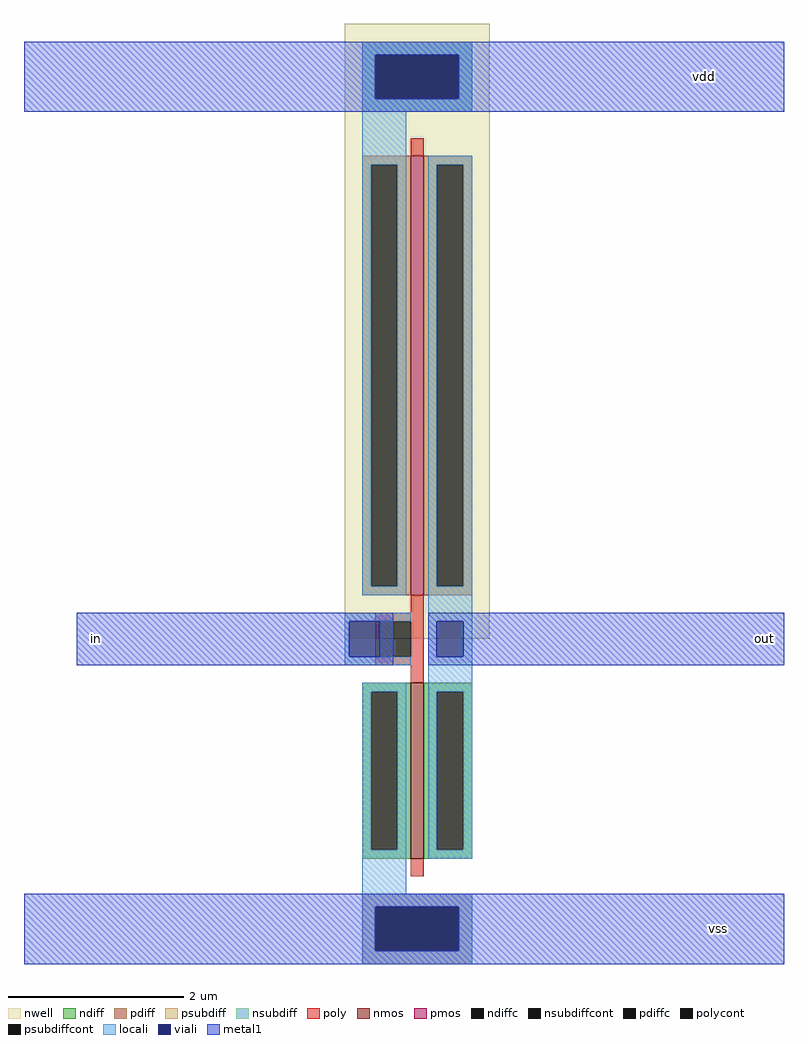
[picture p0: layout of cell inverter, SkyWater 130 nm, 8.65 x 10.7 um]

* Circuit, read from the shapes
.subckt inverter in out vdd vss
XM1 out in vss vss sky130_fd_pr__nfet_01v8 w=2 l=0.15
XM2 out in vdd vdd sky130_fd_pr__pfet_01v8 w=5 l=0.15
.ends

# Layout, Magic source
magic
tech sky130A
<< nwell >>
rect -90 -150 75 550
<< nmos >>
rect -15 -400 0 -200
<< pmos >>
rect -15 -100 0 400
<< ndiff >>
rect -70 -210 -15 -200
rect -70 -390 -60 -210
rect -30 -390 -15 -210
rect -70 -400 -15 -390
rect 0 -210 55 -200
rect 0 -390 15 -210
rect 45 -390 55 -210
rect 0 -400 55 -390
<< pdiff >>
rect -70 390 -15 400
rect -70 -90 -60 390
rect -30 -90 -15 390
rect -70 -100 -15 -90
rect 0 390 55 400
rect 0 -90 15 390
rect 45 -90 55 390
rect 0 -100 55 -90
<< ndiffc >>
rect -60 -390 -30 -210
rect 15 -390 45 -210
<< pdiffc >>
rect -60 -90 -30 390
rect 15 -90 45 390
<< psubdiff >>
rect -70 -455 55 -440
rect -70 -505 -55 -455
rect 40 -505 55 -455
rect -70 -520 55 -505
<< nsubdiff >>
rect -70 515 55 530
rect -70 465 -55 515
rect 40 465 55 515
rect -70 450 55 465
<< psubdiffcont >>
rect -55 -505 40 -455
<< nsubdiffcont >>
rect -55 465 40 515
<< poly >>
rect -15 400 0 420
rect -15 -120 0 -100
rect -55 -130 0 -120
rect -55 -170 -50 -130
rect -15 -170 0 -130
rect -55 -180 0 -170
rect -15 -200 0 -180
rect -15 -420 0 -400
<< polycont >>
rect -50 -170 -15 -130
<< locali >>
rect -70 515 55 530
rect -70 465 -55 515
rect 40 465 55 515
rect -70 450 55 465
rect -70 390 -20 450
rect -70 -90 -60 390
rect -30 -90 -20 390
rect -70 -100 -20 -90
rect 5 390 55 400
rect 5 -90 15 390
rect 45 -90 55 390
rect -90 -130 -15 -120
rect -90 -170 -85 -130
rect -90 -180 -15 -170
rect 5 -130 55 -90
rect 5 -170 15 -130
rect 45 -170 55 -130
rect -70 -210 -20 -200
rect -70 -390 -60 -210
rect -30 -390 -20 -210
rect -70 -440 -20 -390
rect 5 -210 55 -170
rect 5 -390 15 -210
rect 45 -390 55 -210
rect 5 -400 55 -390
rect -70 -455 55 -440
rect -70 -505 -55 -455
rect 40 -505 55 -455
rect -70 -520 55 -505
<< viali >>
rect -55 465 40 515
rect -85 -170 -50 -130
rect 15 -170 45 -130
rect -55 -505 40 -455
<< metal1 >>
rect -455 515 410 530
rect -455 465 -55 515
rect 40 465 410 515
rect -455 450 410 465
rect -395 -130 -35 -120
rect -395 -170 -85 -130
rect -50 -170 -35 -130
rect -395 -180 -35 -170
rect 5 -130 410 -120
rect 5 -170 15 -130
rect 45 -170 410 -130
rect 5 -180 410 -170
rect -455 -455 410 -440
rect -455 -505 -55 -455
rect 40 -505 410 -455
rect -455 -520 410 -505
<< labels >>
rlabel metal1 320 490 320 490 1 vdd
rlabel metal1 335 -480 335 -480 1 vss
rlabel metal1 375 -170 400 -130 1 out
rlabel metal1 -385 -170 -360 -130 1 in
<< end >>
